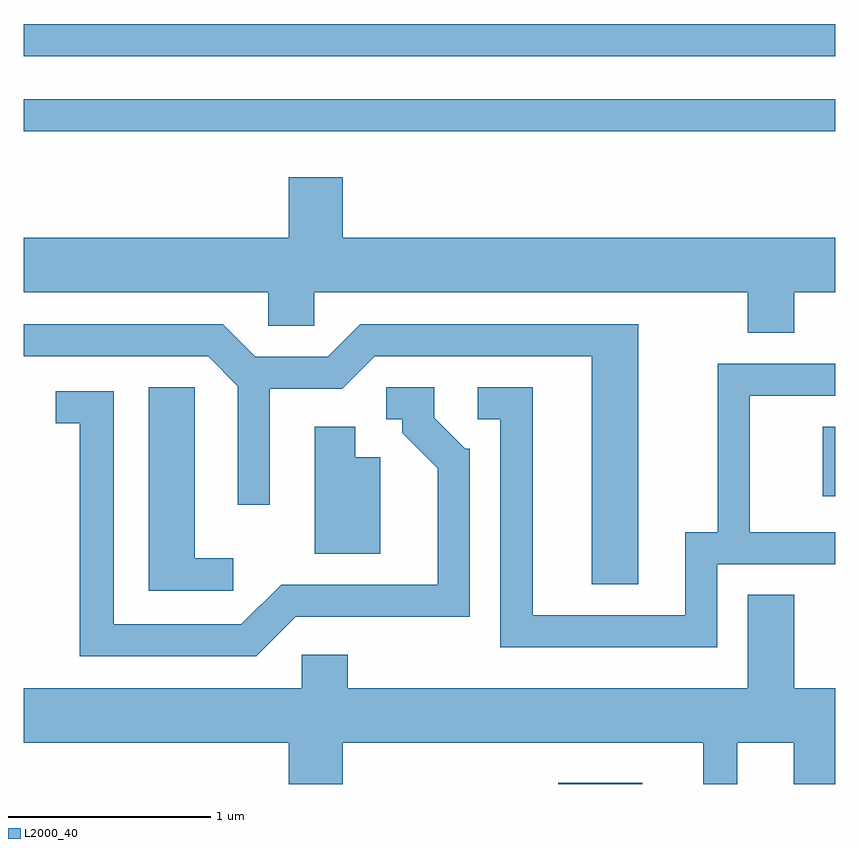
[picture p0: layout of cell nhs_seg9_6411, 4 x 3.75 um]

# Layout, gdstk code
import gdstk
lib = gdstk.Library(unit=1e-6, precision=1e-09)
def R(c, l, rs):  # rectangles x0, y0, x1, y1
    for r in rs: c.add(gdstk.rectangle(r[:2], r[2:], *l))
def P(c, l, *ps):  # polygons
    for p in ps: c.add(gdstk.Polygon(p, *l))
L2000_40 = (2000, 40)

nhs_seg9_6411 = lib.new_cell('nhs_seg9_6411')
R(nhs_seg9_6411, L2000_40, [(376.246,2060.432,376.659,2060.439), (377.551,2061.851,377.611,2062.194), (373.611,2063.651,377.611,2063.809), (373.611,2064.021,377.611,2064.179)])
P(nhs_seg9_6411, L2000_40, [(375.184,2063.424),(374.916,2063.424),(374.916,2063.124),(373.611,2063.124),(373.611,2062.856),(374.816,2062.856),(374.816,2062.691),(375.044,2062.691),(375.044,2062.856),(377.181,2062.856),(377.181,2062.656),(377.409,2062.656),(377.409,2062.856),(377.611,2062.856),(377.611,2063.124),(375.184,2063.124)],
  [(376.639,2062.699),(375.269,2062.699),(375.109,2062.539),(374.752,2062.539),(374.592,2062.699),(373.611,2062.699),(373.611,2062.541),(374.519,2062.541),(374.666,2062.394),(374.666,2061.808),(374.824,2061.808),(374.824,2062.381),(375.182,2062.381),(375.342,2062.541),(376.411,2062.541),(376.411,2061.416),(376.639,2061.416)],
  [(377.029,2061.516),(377.611,2061.516),(377.611,2061.674),(377.189,2061.674),(377.189,2062.346),(377.611,2062.346),(377.611,2062.504),(377.031,2062.504),(377.031,2061.674),(376.871,2061.674),(376.871,2061.264),(376.119,2061.264),(376.119,2062.389),(375.848,2062.389),(375.848,2062.231),(375.961,2062.231),(375.961,2061.106),(377.029,2061.106)],
  [(374.643,2061.544),(374.454,2061.544),(374.454,2062.389),(374.226,2062.389),(374.226,2061.386),(374.643,2061.386)],
  [(374.952,2061.256),(375.809,2061.256),(375.809,2062.084),(375.787,2062.084),(375.634,2062.237),(375.634,2062.389),(375.398,2062.389),(375.398,2062.231),(375.476,2062.231),(375.476,2062.164),(375.651,2061.989),(375.651,2061.414),(374.879,2061.414),(374.684,2061.219),(374.054,2061.219),(374.054,2062.369),(373.768,2062.369),(373.768,2062.211),(373.886,2062.211),(373.886,2061.061),(374.757,2061.061)],
  [(375.369,2062.044),(375.244,2062.044),(375.244,2062.194),(375.046,2062.194),(375.046,2061.566),(375.369,2061.566)],
  [(377.181,2060.904),(375.209,2060.904),(375.209,2061.069),(374.981,2061.069),(374.981,2060.904),(373.611,2060.904),(373.611,2060.636),(374.916,2060.636),(374.916,2060.432),(375.184,2060.432),(375.184,2060.636),(376.961,2060.636),(376.961,2060.432),(377.129,2060.432),(377.129,2060.636),(377.406,2060.636),(377.406,2060.432),(377.611,2060.432),(377.611,2060.904),(377.409,2060.904),(377.409,2061.364),(377.181,2061.364)])

lib.write_gds('nhs_seg9_6411.gds')
